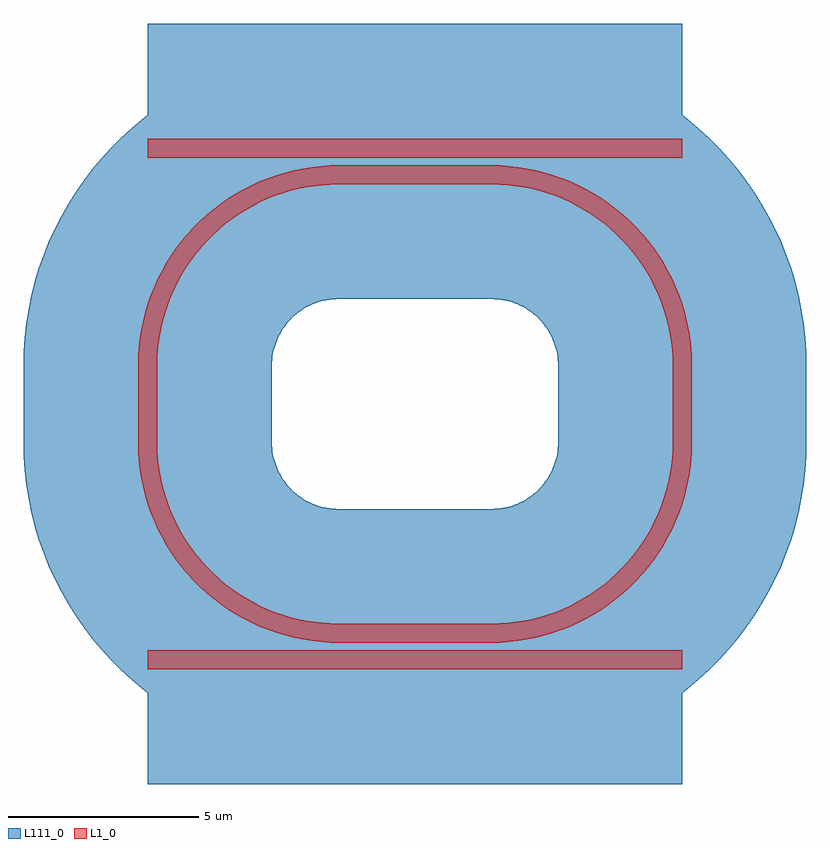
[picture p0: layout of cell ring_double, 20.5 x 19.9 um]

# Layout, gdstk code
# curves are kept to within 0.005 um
import gdstk
lib = gdstk.Library(unit=1e-6, precision=1e-09)
def R(c, l, rs):  # rectangles x0, y0, x1, y1
    for r in rs: c.add(gdstk.rectangle(r[:2], r[2:], *l))
def P(c, l, *ps):  # polygons
    for p in ps: c.add(gdstk.Polygon(p, *l))
L1_0 = (1, 0)
L111_0 = (111, 0)

ring_double = lib.new_cell('ring_double')
R(ring_double, L1_0, [(-9,-0.25,-4,0.25), (-4,-0.25,0,0.25), (0,-0.25,5,0.25), (-4,0.45,0,0.95), (-9.25,5.7,-8.75,7.7), (4.75,5.7,5.25,7.7), (-4,12.45,0,12.95), (-9,13.15,-4,13.65), (-4,13.15,0,13.65), (0,13.15,5,13.65)])
P(ring_double, L1_0, [(-8.75,5.7),(-8.731,5.274),(-8.674,4.852),(-8.579,4.436),(-8.518,4.232),(-8.447,4.031),(-8.28,3.639),(-8.078,3.264),(-7.843,2.908),(-7.714,2.738),(-7.577,2.575),(-7.283,2.267),(-6.962,1.986),(-6.792,1.857),(-6.436,1.622),(-6.061,1.42),(-5.867,1.332),(-5.468,1.182),(-5.057,1.069),(-4.848,1.026),(-4.426,0.969),(-4,0.95),(-4,0.45),(-4.236,0.455),(-4.471,0.471),(-4.937,0.534),(-5.397,0.639),(-5.622,0.707),(-5.845,0.785),(-6.063,0.872),(-6.278,0.97),(-6.488,1.077),(-6.693,1.193),(-6.892,1.318),(-7.086,1.453),(-7.273,1.595),(-7.454,1.746),(-7.628,1.905),(-7.795,2.072),(-7.954,2.246),(-8.105,2.427),(-8.382,2.808),(-8.507,3.007),(-8.623,3.212),(-8.73,3.422),(-8.828,3.637),(-8.915,3.855),(-8.993,4.078),(-9.061,4.303),(-9.118,4.532),(-9.166,4.763),(-9.229,5.229),(-9.245,5.464),(-9.25,5.7)],
  [(4.75,5.7),(4.731,5.274),(4.674,4.852),(4.579,4.436),(4.518,4.232),(4.447,4.031),(4.28,3.639),(4.078,3.264),(3.843,2.908),(3.714,2.738),(3.577,2.575),(3.283,2.267),(2.962,1.986),(2.792,1.857),(2.436,1.622),(2.061,1.42),(1.867,1.332),(1.468,1.182),(1.057,1.069),(0.848,1.026),(0.426,0.969),(0,0.95),(0,0.45),(0.236,0.455),(0.471,0.471),(0.937,0.534),(1.397,0.639),(1.622,0.707),(1.845,0.785),(2.063,0.872),(2.278,0.97),(2.488,1.077),(2.693,1.193),(2.892,1.318),(3.086,1.453),(3.273,1.595),(3.454,1.746),(3.628,1.905),(3.795,2.072),(3.954,2.246),(4.105,2.427),(4.382,2.808),(4.507,3.007),(4.623,3.212),(4.73,3.422),(4.828,3.637),(4.915,3.855),(4.993,4.078),(5.061,4.303),(5.118,4.532),(5.166,4.763),(5.229,5.229),(5.245,5.464),(5.25,5.7)],
  [(4.75,7.7),(4.731,8.126),(4.674,8.548),(4.579,8.964),(4.518,9.168),(4.447,9.369),(4.28,9.761),(4.078,10.136),(3.843,10.492),(3.714,10.662),(3.577,10.825),(3.283,11.133),(2.962,11.414),(2.792,11.543),(2.436,11.778),(2.061,11.98),(1.867,12.068),(1.468,12.218),(1.057,12.331),(0.848,12.374),(0.426,12.431),(0,12.45),(0,12.95),(0.236,12.945),(0.471,12.929),(0.937,12.866),(1.397,12.761),(1.622,12.693),(1.845,12.615),(2.063,12.528),(2.278,12.43),(2.488,12.323),(2.693,12.207),(2.892,12.082),(3.086,11.947),(3.273,11.805),(3.454,11.654),(3.628,11.495),(3.795,11.328),(3.954,11.154),(4.105,10.973),(4.382,10.592),(4.507,10.393),(4.623,10.188),(4.73,9.978),(4.828,9.763),(4.915,9.545),(4.993,9.322),(5.061,9.097),(5.118,8.868),(5.166,8.637),(5.229,8.171),(5.245,7.936),(5.25,7.7)],
  [(-8.75,7.7),(-8.731,8.126),(-8.674,8.548),(-8.579,8.964),(-8.518,9.168),(-8.447,9.369),(-8.28,9.761),(-8.078,10.136),(-7.843,10.492),(-7.714,10.662),(-7.577,10.825),(-7.283,11.133),(-6.962,11.414),(-6.792,11.543),(-6.436,11.778),(-6.061,11.98),(-5.867,12.068),(-5.468,12.218),(-5.057,12.331),(-4.848,12.374),(-4.426,12.431),(-4,12.45),(-4,12.95),(-4.236,12.945),(-4.471,12.929),(-4.937,12.866),(-5.397,12.761),(-5.622,12.693),(-5.845,12.615),(-6.063,12.528),(-6.278,12.43),(-6.488,12.323),(-6.693,12.207),(-6.892,12.082),(-7.086,11.947),(-7.273,11.805),(-7.454,11.654),(-7.628,11.495),(-7.795,11.328),(-7.954,11.154),(-8.105,10.973),(-8.382,10.592),(-8.507,10.393),(-8.623,10.188),(-8.73,9.978),(-8.828,9.763),(-8.915,9.545),(-8.993,9.322),(-9.061,9.097),(-9.118,8.868),(-9.166,8.637),(-9.229,8.171),(-9.245,7.936),(-9.25,7.7)])
R(ring_double, L111_0, [(-9,-3.25,-4,3.25), (-4,-3.25,0,3.95), (0,-3.25,5,3.25), (-12.25,5.7,-5.75,7.7), (1.75,5.7,8.25,7.7), (-4,9.45,0,16.65), (-9,10.15,-4,16.65), (0,10.15,5,16.65)])
P(ring_double, L111_0, [(-5.75,5.7),(-5.743,5.543),(-5.722,5.388),(-5.687,5.234),(-5.609,5.012),(-5.541,4.871),(-5.461,4.736),(-5.368,4.609),(-5.265,4.491),(-5.151,4.382),(-5.029,4.284),(-4.898,4.198),(-4.688,4.091),(-4.466,4.013),(-4.312,3.978),(-4.157,3.957),(-4,3.95),(-4,-2.55),(-4.37,-2.542),(-4.74,-2.517),(-5.107,-2.475),(-5.473,-2.417),(-5.836,-2.343),(-6.195,-2.253),(-6.549,-2.146),(-6.899,-2.024),(-7.242,-1.886),(-7.58,-1.733),(-7.909,-1.565),(-8.231,-1.382),(-8.545,-1.185),(-8.849,-0.974),(-9.144,-0.75),(-9.428,-0.513),(-9.701,-0.263),(-9.963,-0.001),(-10.213,0.272),(-10.45,0.556),(-10.674,0.851),(-10.885,1.155),(-11.082,1.469),(-11.265,1.791),(-11.433,2.12),(-11.586,2.458),(-11.724,2.801),(-11.846,3.151),(-11.953,3.505),(-12.043,3.864),(-12.117,4.227),(-12.175,4.593),(-12.217,4.96),(-12.242,5.33),(-12.25,5.7)],
  [(1.75,5.7),(1.743,5.543),(1.722,5.388),(1.687,5.234),(1.609,5.012),(1.541,4.871),(1.461,4.736),(1.368,4.609),(1.265,4.491),(1.151,4.382),(1.029,4.284),(0.898,4.198),(0.688,4.091),(0.466,4.013),(0.312,3.978),(0.157,3.957),(0,3.95),(0,-2.55),(0.37,-2.542),(0.74,-2.517),(1.107,-2.475),(1.473,-2.417),(1.836,-2.343),(2.195,-2.253),(2.549,-2.146),(2.899,-2.024),(3.242,-1.886),(3.58,-1.733),(3.909,-1.565),(4.231,-1.382),(4.545,-1.185),(4.849,-0.974),(5.144,-0.75),(5.428,-0.513),(5.701,-0.263),(5.963,-0.001),(6.213,0.272),(6.45,0.556),(6.674,0.851),(6.885,1.155),(7.082,1.469),(7.265,1.791),(7.433,2.12),(7.586,2.458),(7.724,2.801),(7.846,3.151),(7.953,3.505),(8.043,3.864),(8.117,4.227),(8.175,4.593),(8.217,4.96),(8.242,5.33),(8.25,5.7)],
  [(1.75,7.7),(1.743,7.857),(1.722,8.012),(1.687,8.166),(1.609,8.388),(1.541,8.529),(1.461,8.664),(1.368,8.791),(1.265,8.909),(1.151,9.018),(1.029,9.116),(0.898,9.202),(0.688,9.309),(0.466,9.387),(0.312,9.422),(0.157,9.443),(0,9.45),(0,15.95),(0.37,15.942),(0.74,15.917),(1.107,15.875),(1.473,15.817),(1.836,15.743),(2.195,15.653),(2.549,15.546),(2.899,15.424),(3.242,15.286),(3.58,15.133),(3.909,14.965),(4.231,14.782),(4.545,14.585),(4.849,14.374),(5.144,14.15),(5.428,13.913),(5.701,13.663),(5.963,13.401),(6.213,13.128),(6.45,12.844),(6.674,12.549),(6.885,12.245),(7.082,11.931),(7.265,11.609),(7.433,11.28),(7.586,10.942),(7.724,10.599),(7.846,10.249),(7.953,9.895),(8.043,9.536),(8.117,9.173),(8.175,8.807),(8.217,8.44),(8.242,8.07),(8.25,7.7)],
  [(-5.75,7.7),(-5.743,7.857),(-5.722,8.012),(-5.687,8.166),(-5.609,8.388),(-5.541,8.529),(-5.461,8.664),(-5.368,8.791),(-5.265,8.909),(-5.151,9.018),(-5.029,9.116),(-4.898,9.202),(-4.688,9.309),(-4.466,9.387),(-4.312,9.422),(-4.157,9.443),(-4,9.45),(-4,15.95),(-4.37,15.942),(-4.74,15.917),(-5.107,15.875),(-5.473,15.817),(-5.836,15.743),(-6.195,15.653),(-6.549,15.546),(-6.899,15.424),(-7.242,15.286),(-7.58,15.133),(-7.909,14.965),(-8.231,14.782),(-8.545,14.585),(-8.849,14.374),(-9.144,14.15),(-9.428,13.913),(-9.701,13.663),(-9.963,13.401),(-10.213,13.128),(-10.45,12.844),(-10.674,12.549),(-10.885,12.245),(-11.082,11.931),(-11.265,11.609),(-11.433,11.28),(-11.586,10.942),(-11.724,10.599),(-11.846,10.249),(-11.953,9.895),(-12.043,9.536),(-12.117,9.173),(-12.175,8.807),(-12.217,8.44),(-12.242,8.07),(-12.25,7.7)])

lib.write_gds('ring_double.gds')
